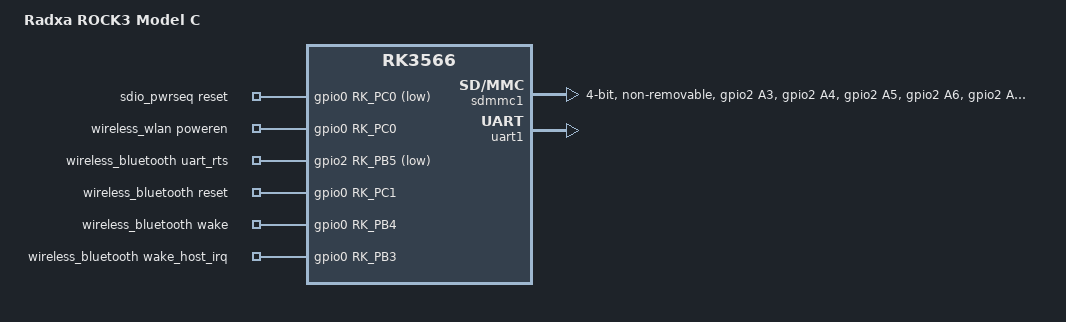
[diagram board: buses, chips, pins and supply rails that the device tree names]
// SPDX-License-Identifier: (GPL-2.0+ OR MIT)
/*
 * Copyright (c) 2024 Rockchip Electronics Co., Ltd.
 * Copyright (c) 2025 Radxa Computer (Shenzhen) Co., Ltd.
 *
 */

/dts-v1/;
#include "rk3566-rock-3c.dtsi"

/ {
	model = "Radxa ROCK3 Model C";
	compatible = "radxa,rock-3c-aic8800ds2", "radxa,rock-3c", "rockchip,rk3566";

	sdio_pwrseq: sdio-pwrseq {
		compatible = "mmc-pwrseq-simple";
		pinctrl-names = "default";
		pinctrl-0 = <&wifi_enable_h>;
		/*
		 * On the module itself this is one of these (depending
		 * on the actual card populated):
		 * - SDIO_RESET_L_WL_REG_ON
		 * - PDN (power down when low)
		 */
		reset-gpios = <&gpio0 RK_PC0 GPIO_ACTIVE_LOW>;
	};

	wireless_wlan: wireless-wlan {
		compatible = "wlan-platdata";
		rockchip,grf = <&grf>;
		WIFI,poweren_gpio = <&gpio0 RK_PC0 GPIO_ACTIVE_HIGH>;
		status = "okay";
	};

	wireless_bluetooth: wireless-bluetooth {
		compatible = "bluetooth-platdata";
		uart_rts_gpios = <&gpio2 RK_PB5 GPIO_ACTIVE_LOW>;
		pinctrl-names = "default", "rts_gpio";
		pinctrl-0 = <&uart1m0_rtsn>;
		pinctrl-1 = <&uart1_gpios>;
		BT,reset_gpio    = <&gpio0 RK_PC1 GPIO_ACTIVE_HIGH>;
		BT,wake_gpio     = <&gpio0 RK_PB4 GPIO_ACTIVE_HIGH>;
		BT,wake_host_irq = <&gpio0 RK_PB3 GPIO_ACTIVE_HIGH>;
		status = "okay";
	};
};

&sdmmc1 {
	supports-sdio;
	bus-width = <4>;
	disable-wp;
	cap-sd-highspeed;
	cap-sdio-irq;
	keep-power-in-suspend;
	non-removable;
	rockchip,default-sample-phase=<180>;
	mmc-pwrseq = <&sdio_pwrseq>;
	non-removable;
	pinctrl-names = "default";
	pinctrl-0 = <&sdmmc1_bus4 &sdmmc1_cmd &sdmmc1_clk>;
	sd-uhs-sdr104;
	status = "okay";
};

&uart1 {
	status = "okay";
	pinctrl-names = "default";
	pinctrl-0 = <&uart1m0_xfer &uart1m0_ctsn>;
};

&pinctrl {
	wifi {
		wifi_enable_h: wifi-enable-h {
			rockchip,pins = <0 RK_PC0 RK_FUNC_GPIO &pcfg_pull_none>;
		};
	};

	wireless-bluetooth {
		uart1_gpios: uart1-gpios {
			rockchip,pins = <2 RK_PB5 RK_FUNC_GPIO &pcfg_pull_none>;
		};
	};

	sdmmc1 {
		/omit-if-no-ref/
		sdmmc1_bus4: sdmmc1-bus4 {
			rockchip,pins =
				/* sdmmc1_d0 */
				<2 RK_PA3 1 &pcfg_pull_up_drv_level_12>,
				/* sdmmc1_d1 */
				<2 RK_PA4 1 &pcfg_pull_up_drv_level_12>,
				/* sdmmc1_d2 */
				<2 RK_PA5 1 &pcfg_pull_up_drv_level_12>,
				/* sdmmc1_d3 */
				<2 RK_PA6 1 &pcfg_pull_up_drv_level_12>;
		};

		/omit-if-no-ref/
		sdmmc1_clk: sdmmc1-clk {
			rockchip,pins =
				/* sdmmc1_clk */
				<2 RK_PB0 1 &pcfg_pull_up_drv_level_12>;
		};

		/omit-if-no-ref/
		sdmmc1_cmd: sdmmc1-cmd {
			rockchip,pins =
				/* sdmmc1_cmd */
				<2 RK_PA7 1 &pcfg_pull_up_drv_level_12>;
		};

		/omit-if-no-ref/
		sdmmc1_det: sdmmc1-det {
			rockchip,pins =
				/* sdmmc1_det */
				<2 RK_PB2 1 &pcfg_pull_up>;
		};

		/omit-if-no-ref/
		sdmmc1_pwren: sdmmc1-pwren {
			rockchip,pins =
				/* sdmmc1_pwren */
				<2 RK_PB1 1 &pcfg_pull_none>;
		};
	};
};
